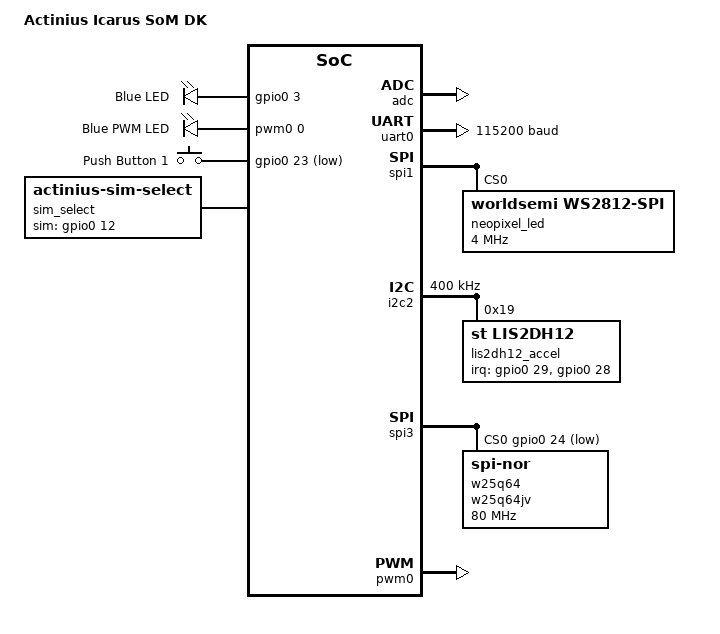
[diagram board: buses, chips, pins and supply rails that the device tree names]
/*
 * Copyright (c) 2022 Actinius
 *
 * SPDX-License-Identifier: Apache-2.0
 */
#include "actinius_icarus_som_dk_common-pinctrl.dtsi"
#include <dt-bindings/led/led.h>
#include <zephyr/dt-bindings/input/input-event-codes.h>

/ {
	model = "Actinius Icarus SoM DK";
	compatible = "actinius,icarus_som_dk";

	chosen {
		zephyr,console = &uart0;
		zephyr,shell-uart = &uart0;
		zephyr,uart-mcumgr = &uart0;
	};

	leds {
		compatible = "gpio-leds";

		blue_led: led_0 {
			gpios = <&gpio0 3 GPIO_ACTIVE_HIGH>;
			label = "Blue LED";
		};
	};

	pwmleds {
		compatible = "pwm-leds";

		blue_pwm_led: led_pwm_0 {
			pwms = <&pwm0 0 PWM_MSEC(20) PWM_POLARITY_NORMAL>;
			label = "Blue PWM LED";
		};
	};

	buttons {
		compatible = "gpio-keys";

		button0: button_0 {
			gpios = <&gpio0 23 (GPIO_PULL_UP | GPIO_ACTIVE_LOW)>;
			label = "Push Button 1";
			zephyr,code = <INPUT_KEY_0>;
		};
	};

	aliases {
		led0 = &blue_led;
		pwm-led0 = &blue_pwm_led;
		blue-pwm-led = &blue_pwm_led;
		sw0 = &button0;
		mcuboot-button0 = &button0;
		mcuboot-led0 = &blue_led;
		watchdog0 = &wdt0;
		accel0 = &lis2dh12_accel;
		led-strip = &neopixel_led;
	};

	sim_select: sim-select {
		compatible = "actinius-sim-select";
		sim-gpios = <&gpio0 12 GPIO_ACTIVE_HIGH>;
		sim = "esim";
	};
};

&adc {
	status = "okay";
};

&gpiote {
	status = "okay";
};

&gpio0 {
	status = "okay";
};

&uart0 {
	status = "okay";

	current-speed = <115200>;
	pinctrl-0 = <&uart0_default>;
	pinctrl-1 = <&uart0_sleep>;
	pinctrl-names = "default", "sleep";
};

neopixel_spi: &spi1 {
	compatible = "nordic,nrf-spim";
	status = "okay";

	pinctrl-0 = <&neopixel_spi_default>;
	pinctrl-1 = <&neopixel_spi_sleep>;
	pinctrl-names = "default", "sleep";

	neopixel_led: ws2812@0 {
		compatible = "worldsemi,ws2812-spi";

		reg = <0>; /* ignored, but necessary for SPI bindings */
		spi-max-frequency = <4000000>;

		chain-length = <1>;
		color-mapping = <LED_COLOR_ID_GREEN
				 LED_COLOR_ID_RED
				 LED_COLOR_ID_BLUE>;
		spi-one-frame = <0x70>;
		spi-zero-frame = <0x40>;
	};
};

&i2c2 {
	compatible = "nordic,nrf-twim";
	status = "okay";

	clock-frequency = <I2C_BITRATE_FAST>;

	pinctrl-0 = <&i2c2_default>;
	pinctrl-1 = <&i2c2_sleep>;
	pinctrl-names = "default", "sleep";

	lis2dh12_accel: lis2dh12-accel@19 {
		compatible = "st,lis2dh12", "st,lis2dh";
		reg = <0x19>;
		irq-gpios = <&gpio0 29 GPIO_ACTIVE_HIGH>,
			    <&gpio0 28 GPIO_ACTIVE_HIGH>;
	};
};

&spi3 {
	compatible = "nordic,nrf-spim";
	status = "okay";

	cs-gpios = <&gpio0 24 GPIO_ACTIVE_LOW>;

	pinctrl-0 = <&spi3_default>;
	pinctrl-1 = <&spi3_sleep>;
	pinctrl-names = "default", "sleep";

	w25q64: w25q64jv@0 {
		compatible = "jedec,spi-nor";
		reg = <0>;
		spi-max-frequency = <80000000>;
		jedec-id = [ef 40 17];
		size = <0x4000000>;
		has-dpd;
		t-enter-dpd = <3500>;
		t-exit-dpd = <3500>;
	};
};

&pwm0 {
	status = "okay";

	pinctrl-0 = <&pwm0_default>;
	pinctrl-1 = <&pwm0_sleep>;
	pinctrl-names = "default", "sleep";
};

/* Include file with mappings and aliases for arduino compatibility */
#include "arduino_connector.dtsi"

/* Include default memory partition configuration file */
#include <nordic/nrf91xx_partition.dtsi>
